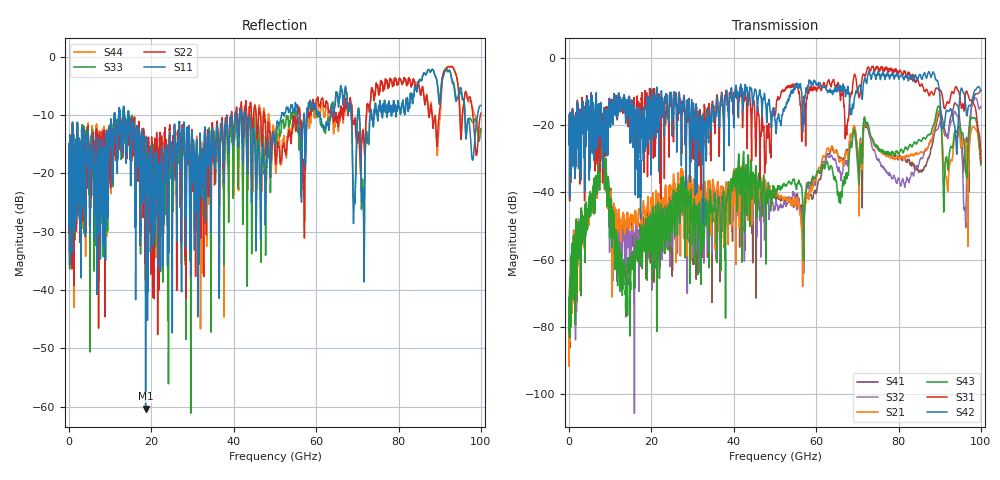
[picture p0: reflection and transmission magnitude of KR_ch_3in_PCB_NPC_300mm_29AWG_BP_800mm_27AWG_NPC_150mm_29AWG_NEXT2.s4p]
# GHz S RI R 45
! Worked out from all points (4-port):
!   4000 points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, 25 MHz to 100 GHz, reference 45 ohm
!   strongest paths, dB at 25 MHz, 25.02 GHz, 50.02 GHz, 75.03 GHz, 100 GHz:
!     S42: -21.2, -20.7, -18.6, -4.1, -9.8
!     S31: -21.2, -17.2, -16.6, -3.0, -31.1
!     S43: -82.6, -50.9, -40.6, -26.3, -31.8
!     S21: -81.4, -46.9, -40.6, -27.2, -27.3
!     S32: -84.4, -52.2, -44.9, -30.5, -14.5
!     S41: -90.0, -64.8, -40.8, -27.2, -9.6
!   lowest |S11| = -60.3 dB at 18.6 GHz (marker M1), VSWR 1.00, Z = 44.9 - j0.04 ohm
!   |S11| at or under -10 dB: start of sweep to 11.02 GHz; 14.45 GHz to 39.38 GHz (24.93 GHz wide, 92.6 % of centre); 42.93 GHz to 51.57 GHz (8.639 GHz wide, 18.3 % of centre) (the widest 3 of 37)
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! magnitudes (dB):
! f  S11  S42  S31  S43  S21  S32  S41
! 25 MHz  -16.6  -21.2  -21.2  -82.6  -81.4  -84.4  -90.0
! 8.025 GHz  -15.9  -26.5  -21.6  -24.9  -26.1  -25.9  -25.5
! 13.62 GHz  -11.5  -13.1  -12.4  -67.3  -52.3  -61.5  -53.4
! 18.6 GHz  -60.3  -19.1  -14.7  -48.9  -53.9  -47.2  -59.2
! 71.95 GHz  -15.2  -6.4  -5.3  -18.8  -19.3  -18.8  -20.1
! 96.1 GHz  -9.6  -11.7  -13.2  -28.5  -24.6  -44.5  -27.3
! 100 GHz  -8.4  -9.8  -31.1  -31.8  -27.3  -14.5  -9.6
